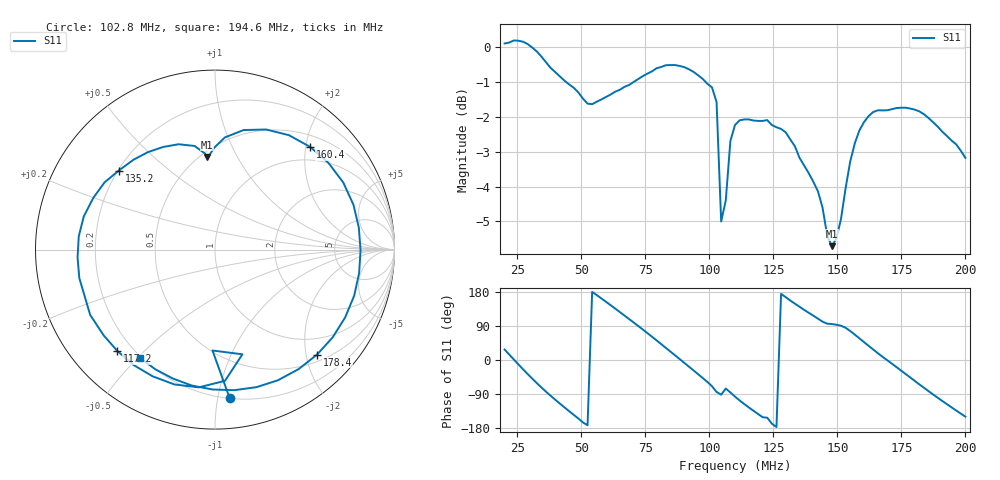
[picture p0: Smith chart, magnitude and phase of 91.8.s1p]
# HZ S RI R 50
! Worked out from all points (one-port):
!   101 points, 20 MHz to 200 MHz, reference 50 ohm
!   lowest |S11| = -5.7 dB at 147.8 MHz (marker M1), VSWR 3.15, Z = 26.9 + j38 ohm
!   |S11| at or under -10 dB: nowhere
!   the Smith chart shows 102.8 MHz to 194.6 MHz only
!   S11 on the Smith chart (normalised r, x): 102.8 MHz: 0.20, -1.08; 117.2 MHz: 0.14, -0.42; 135.2 MHz: 0.20, +0.35; 160.4 MHz: 0.71, +2.09; 178.4 MHz: 0.63, -2.21; 194.6 MHz: 0.19, -0.51
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2e7  0.8948 0.4695
2.54e7  0.9985 -0.2065
3.26e7  0.4751 -0.8618
3.8e7  -0.0743 -0.9291
4.34e7  -0.5146 -0.731
5.42e7  -0.8274 0.00367
6.5e7  -0.5162 0.6972
7.58e7  0.2996 0.8646
8.3e7  0.7983 0.4976
8.84e7  0.9375 0.0376
9.56e7  0.7217 -0.5539
1.028e8  0.0823 -0.829
1.046e8  -0.0141 -0.5621
1.064e8  0.1527 -0.5834
1.1e8  -0.0896 -0.7674
1.172e8  -0.5437 -0.565
1.226e8  -0.695 -0.3653
1.262e8  -0.7657 -0.0428
1.334e8  -0.6151 0.3749
1.352e8  -0.5356 0.4405
1.478e8  -0.0449 0.5165
1.55e8  0.1594 0.6661
1.604e8  0.5303 0.5721
1.694e8  0.811 -0.00432
1.784e8  0.5685 -0.5849
1.856e8  0.1078 -0.7833
1.946e8  -0.4206 -0.6015
2e8  -0.5974 -0.352
